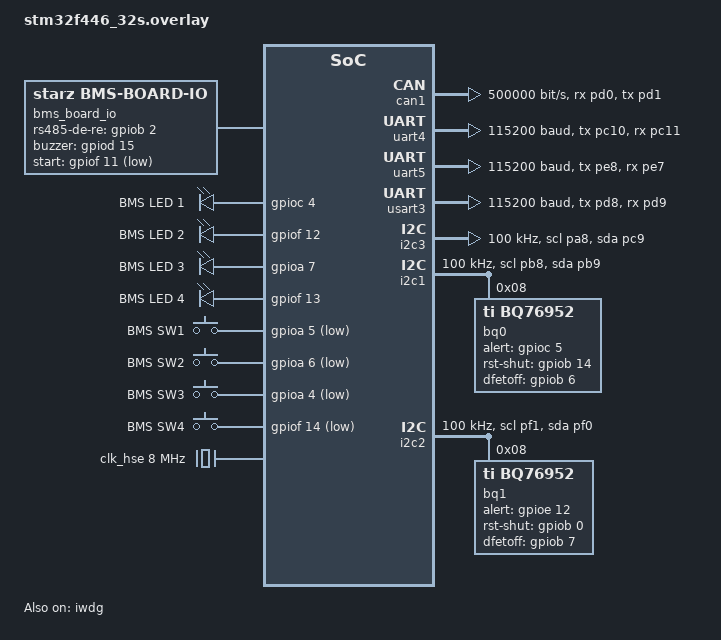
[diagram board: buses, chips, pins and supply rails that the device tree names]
/* STARZ BMS STM32F446ZE common board mapping. */
#include <zephyr/dt-bindings/gpio/gpio.h>
#include <zephyr/dt-bindings/i2c/i2c.h>
#include <zephyr/dt-bindings/input/input-event-codes.h>

/ {
    chosen {
        zephyr,console = &usart3;
        zephyr,shell-uart = &usart3;
        zephyr,canbus = &can1;
    };

    bms_board_io: bms-board-io {
        compatible = "starz,bms-board-io";
        rs485-de-re-gpios = <&gpiob 2 GPIO_ACTIVE_HIGH>;
        buzzer-gpios = <&gpiod 15 GPIO_ACTIVE_HIGH>;
        start-gpios = <&gpiof 11 (GPIO_ACTIVE_LOW | GPIO_PULL_UP)>;
    };

    bms_leds: bms-leds {
        compatible = "gpio-leds";
        bms_led1: led_1 { gpios = <&gpioc 4 GPIO_ACTIVE_HIGH>; label = "BMS LED 1"; };
        bms_led2: led_2 { gpios = <&gpiof 12 GPIO_ACTIVE_HIGH>; label = "BMS LED 2"; };
        bms_led3: led_3 { gpios = <&gpioa 7 GPIO_ACTIVE_HIGH>; label = "BMS LED 3"; };
        bms_led4: led_4 { gpios = <&gpiof 13 GPIO_ACTIVE_HIGH>; label = "BMS LED 4"; };
    };

    bms_keys: bms-keys {
        compatible = "gpio-keys";
        sw1: switch_1 { gpios = <&gpioa 5 (GPIO_ACTIVE_LOW | GPIO_PULL_UP)>; label = "BMS SW1"; zephyr,code = <INPUT_KEY_1>; };
        sw2: switch_2 { gpios = <&gpioa 6 (GPIO_ACTIVE_LOW | GPIO_PULL_UP)>; label = "BMS SW2"; zephyr,code = <INPUT_KEY_2>; };
        sw3: switch_3 { gpios = <&gpioa 4 (GPIO_ACTIVE_LOW | GPIO_PULL_UP)>; label = "BMS SW3"; zephyr,code = <INPUT_KEY_3>; };
        sw4: switch_4 { gpios = <&gpiof 14 (GPIO_ACTIVE_LOW | GPIO_PULL_UP)>; label = "BMS SW4"; zephyr,code = <INPUT_KEY_4>; };
    };
};

/* Legacy CubeMX clock: 8 MHz crystal -> 168 MHz SYSCLK. */
&clk_hse {
    /delete-property/ hse-bypass;
    clock-frequency = <8000000>;
    status = "okay";
};

&pll {
    div-m = <4>;
    mul-n = <168>;
    div-p = <2>;
    div-q = <7>;
    clocks = <&clk_hse>;
    status = "okay";
};

&rcc {
    clocks = <&pll>;
    clock-frequency = <168000000>;
    ahb-prescaler = <1>;
    apb1-prescaler = <4>;
    apb2-prescaler = <2>;
};

&can1 {
    pinctrl-0 = <&can1_rx_pd0 &can1_tx_pd1>;
    pinctrl-names = "default";
    bitrate = <500000>;
    sample-point = <857>;
    status = "okay";
};

&uart4 {
    pinctrl-0 = <&uart4_tx_pc10 &uart4_rx_pc11>;
    pinctrl-names = "default";
    current-speed = <115200>;
    status = "okay";
};

&uart5 {
    pinctrl-0 = <&uart5_tx_pe8 &uart5_rx_pe7>;
    pinctrl-names = "default";
    current-speed = <115200>;
    status = "okay";
};

&usart3 {
    pinctrl-0 = <&usart3_tx_pd8 &usart3_rx_pd9>;
    pinctrl-names = "default";
    current-speed = <115200>;
    status = "okay";
};

&i2c3 {
    pinctrl-0 = <&i2c3_scl_pa8 &i2c3_sda_pc9>;
    pinctrl-names = "default";
    clock-frequency = <I2C_BITRATE_STANDARD>;
    status = "okay";
};

&iwdg {
    status = "okay";
};


/*
 * 32S STARZ reference architecture:
 *   - BQ0/bottom: direct I2C1, same ground as MCU.
 *   - BQ1/top: I2C2 passes through an ISO1640 isolated I2C barrier.
 *   - Each BQ keeps the default 7-bit address 0x08 because they are on separate
 *     STM32 I2C controllers. This deliberately avoids OTP address programming.
 */
&i2c1 {
    pinctrl-0 = <&i2c1_scl_pb8 &i2c1_sda_pb9>;
    pinctrl-names = "default";
    clock-frequency = <I2C_BITRATE_STANDARD>;
    status = "okay";

    bq0: bq76952@8 {
        compatible = "ti,bq76952";
        reg = <0x08>;
        alert-gpios = <&gpioc 5 GPIO_ACTIVE_HIGH>;
        rst-shut-gpios = <&gpiob 14 GPIO_ACTIVE_HIGH>;
        dfetoff-gpios = <&gpiob 6 GPIO_ACTIVE_HIGH>;
    };
};

&i2c2 {
    pinctrl-0 = <&i2c2_scl_pf1 &i2c2_sda_pf0>;
    pinctrl-names = "default";
    clock-frequency = <I2C_BITRATE_STANDARD>;
    status = "okay";

    /* MCU-side I2C2 -> ISO1640 -> upper-group BQ76952. */
    bq1: bq76952@8 {
        compatible = "ti,bq76952";
        reg = <0x08>;

        /*
         * Reference 32S PCB assignment through isolated/level-shifted GPIO:
         *   PE12 <- TOP_ALERT
         *   PB0  -> TOP_RST_SHUT
         *   PB7  -> TOP_DFETOFF
         * These pins were free/unlabelled in the legacy 16S design and become
         * routing requirements for the new 32S PCB.
         */
        alert-gpios = <&gpioe 12 GPIO_ACTIVE_HIGH>;
        rst-shut-gpios = <&gpiob 0 GPIO_ACTIVE_HIGH>;
        dfetoff-gpios = <&gpiob 7 GPIO_ACTIVE_HIGH>;
    };
};
